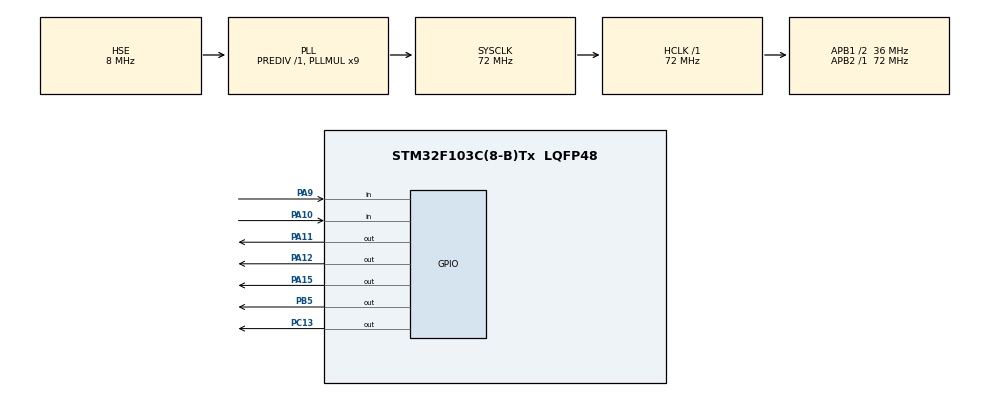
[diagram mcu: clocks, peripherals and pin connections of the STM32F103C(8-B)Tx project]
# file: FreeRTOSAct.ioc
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FREERTOS.Tasks01=ledTask,24,128,StartLedTask,Default,NULL,Dynamic,NULL,NULL;pwmTask,8,128,PWMTask,Default,NULL,Dynamic,NULL,NULL;inputTask,8,128,InputInverterTask,Default,NULL,Dynamic,NULL,NULL
Mcu.Family=STM32F1
Mcu.Name=STM32F103C(8-B)Tx
Mcu.Package=LQFP48
NVIC.PriorityGroup=NVIC_PRIORITYGROUP_4
NVIC.TIM2_IRQn=true\:15\:0\:false\:false\:true\:false\:false\:true\:true
NVIC.TimeBase=TIM2_IRQn
NVIC.TimeBaseIP=TIM2
PA10.Signal=GPIO_Input
PA11.Signal=GPIO_Output
PA12.Signal=GPIO_Output
PA13.Mode=Serial_Wire
PA13.Signal=SYS_JTMS-SWDIO
PA14.Mode=Serial_Wire
PA14.Signal=SYS_JTCK-SWCLK
PA15.Signal=GPIO_Output
PA9.Signal=GPIO_Input
PB5.Signal=GPIO_Output
PC13-TAMPER-RTC.Signal=GPIO_Output
PD0-OSC_IN.Mode=HSE-External-Oscillator
PD0-OSC_IN.Signal=RCC_OSC_IN
PD1-OSC_OUT.Mode=HSE-External-Oscillator
PD1-OSC_OUT.Signal=RCC_OSC_OUT
ProjectManager.HeapSize=0x200
ProjectManager.StackSize=0x400
ProjectManager.TargetToolchain=STM32CubeIDE
RCC.AHBFreq_Value=72000000
RCC.APB1CLKDivider=RCC_HCLK_DIV2
RCC.APB1Freq_Value=36000000
RCC.APB1TimFreq_Value=72000000
RCC.APB2Freq_Value=72000000
RCC.APB2TimFreq_Value=72000000
RCC.HCLKFreq_Value=72000000
RCC.PLLMUL=RCC_PLL_MUL9
RCC.PLLSourceVirtual=RCC_PLLSOURCE_HSE
RCC.SYSCLKFreq_VALUE=72000000
RCC.SYSCLKSource=RCC_SYSCLKSOURCE_PLLCLK
RCC.USBFreq_Value=72000000
VP_FREERTOS_VS_CMSIS_V2.Mode=CMSIS_V2
VP_SYS_VS_tim2.Mode=TIM2
board=custom

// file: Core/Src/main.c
/* USER CODE BEGIN Header */
/**
  ******************************************************************************
  * @file           : main.c
  * @brief          : Main program body
  ******************************************************************************
  * @attention
  *
  * Copyright (c) 2022 STMicroelectronics.
  * All rights reserved.
  *
  * This software is licensed under terms that can be found in the LICENSE file
  * in the root directory of this software component.
  * If no LICENSE file comes with this software, it is provided AS-IS.
  *
  ******************************************************************************
  */
/* USER CODE END Header */
#include "main.h"
#include "cmsis_os.h"

/* Definitions for ledTask */
osThreadId_t ledTaskHandle;
const osThreadAttr_t ledTask_attributes = {
  .name = "ledTask",
  .stack_size = 128 * 4,
  .priority = (osPriority_t) osPriorityNormal,
};
/* Definitions for pwmTask */
osThreadId_t pwmTaskHandle;
const osThreadAttr_t pwmTask_attributes = {
  .name = "pwmTask",
  .stack_size = 128 * 4,
  .priority = (osPriority_t) osPriorityLow,
};
/* Definitions for inputTask */
osThreadId_t inputTaskHandle;
const osThreadAttr_t inputTask_attributes = {
  .name = "inputTask",
  .stack_size = 128 * 4,
  .priority = (osPriority_t) osPriorityLow,
};

void SystemClock_Config(void);
static void MX_GPIO_Init(void);
void StartLedTask(void *argument);
void PWMTask(void *argument);
void InputInverterTask(void *argument);

int main(void)
{

  /* MCU Configuration--------------------------------------------------------*/

  /* Reset of all peripherals, Initializes the Flash interface and the Systick. */
  HAL_Init();

  /* Configure the system clock */
  SystemClock_Config();

  /* Initialize all configured peripherals */
  MX_GPIO_Init();

  /* Init scheduler */
  osKernelInitialize();

  /* Create the thread(s) */
  /* creation of ledTask */
  ledTaskHandle = osThreadNew(StartLedTask, NULL, &ledTask_attributes);

  /* creation of pwmTask */
  pwmTaskHandle = osThreadNew(PWMTask, NULL, &pwmTask_attributes);

  /* creation of inputTask */
  inputTaskHandle = osThreadNew(InputInverterTask, NULL, &inputTask_attributes);

  /* Start scheduler */
  osKernelStart();

  /* We should never get here as control is now taken by the scheduler */
  /* Infinite loop */
  while (1)
  {

  }
}

void SystemClock_Config(void)
{
  RCC_OscInitTypeDef RCC_OscInitStruct = {0};
  RCC_ClkInitTypeDef RCC_ClkInitStruct = {0};

  /** Initializes the RCC Oscillators according to the specified parameters
  * in the RCC_OscInitTypeDef structure.
  */
  RCC_OscInitStruct.OscillatorType = RCC_OSCILLATORTYPE_HSE;
  RCC_OscInitStruct.HSEState = RCC_HSE_ON;
  RCC_OscInitStruct.HSEPredivValue = RCC_HSE_PREDIV_DIV1;
  RCC_OscInitStruct.HSIState = RCC_HSI_ON;
  RCC_OscInitStruct.PLL.PLLState = RCC_PLL_ON;
  RCC_OscInitStruct.PLL.PLLSource = RCC_PLLSOURCE_HSE;
  RCC_OscInitStruct.PLL.PLLMUL = RCC_PLL_MUL9;
  if (HAL_RCC_OscConfig(&RCC_OscInitStruct) != HAL_OK)
  {
    Error_Handler();
  }

  /** Initializes the CPU, AHB and APB buses clocks
  */
  RCC_ClkInitStruct.ClockType = RCC_CLOCKTYPE_HCLK|RCC_CLOCKTYPE_SYSCLK
                              |RCC_CLOCKTYPE_PCLK1|RCC_CLOCKTYPE_PCLK2;
  RCC_ClkInitStruct.SYSCLKSource = RCC_SYSCLKSOURCE_PLLCLK;
  RCC_ClkInitStruct.AHBCLKDivider = RCC_SYSCLK_DIV1;
  RCC_ClkInitStruct.APB1CLKDivider = RCC_HCLK_DIV2;
  RCC_ClkInitStruct.APB2CLKDivider = RCC_HCLK_DIV1;

  if (HAL_RCC_ClockConfig(&RCC_ClkInitStruct, FLASH_LATENCY_2) != HAL_OK)
  {
    Error_Handler();
  }
}

static void MX_GPIO_Init(void)
{
  GPIO_InitTypeDef GPIO_InitStruct = {0};

  /* GPIO Ports Clock Enable */
  __HAL_RCC_GPIOC_CLK_ENABLE();
  __HAL_RCC_GPIOD_CLK_ENABLE();
  __HAL_RCC_GPIOA_CLK_ENABLE();
  __HAL_RCC_GPIOB_CLK_ENABLE();

  /*Configure GPIO pin Output Level */
  HAL_GPIO_WritePin(GPIOC, GPIO_PIN_13, GPIO_PIN_RESET);

  /*Configure GPIO pin Output Level */
  HAL_GPIO_WritePin(GPIOA, GPIO_PIN_11|GPIO_PIN_12|GPIO_PIN_15, GPIO_PIN_RESET);

  /*Configure GPIO pin Output Level */
  HAL_GPIO_WritePin(GPIOB, GPIO_PIN_5, GPIO_PIN_RESET);

  /*Configure GPIO pin : PC13 */
  GPIO_InitStruct.Pin = GPIO_PIN_13;
  GPIO_InitStruct.Mode = GPIO_MODE_OUTPUT_PP;
  GPIO_InitStruct.Pull = GPIO_NOPULL;
  GPIO_InitStruct.Speed = GPIO_SPEED_FREQ_LOW;
  HAL_GPIO_Init(GPIOC, &GPIO_InitStruct);

  /*Configure GPIO pins : PA9 PA10 */
  GPIO_InitStruct.Pin = GPIO_PIN_9|GPIO_PIN_10;
  GPIO_InitStruct.Mode = GPIO_MODE_INPUT;
  GPIO_InitStruct.Pull = GPIO_NOPULL;
  HAL_GPIO_Init(GPIOA, &GPIO_InitStruct);

  /*Configure GPIO pins : PA11 PA12 PA15 */
  GPIO_InitStruct.Pin = GPIO_PIN_11|GPIO_PIN_12|GPIO_PIN_15;
  GPIO_InitStruct.Mode = GPIO_MODE_OUTPUT_PP;
  GPIO_InitStruct.Pull = GPIO_NOPULL;
  GPIO_InitStruct.Speed = GPIO_SPEED_FREQ_LOW;
  HAL_GPIO_Init(GPIOA, &GPIO_InitStruct);

  /*Configure GPIO pin : PB5 */
  GPIO_InitStruct.Pin = GPIO_PIN_5;
  GPIO_InitStruct.Mode = GPIO_MODE_OUTPUT_PP;
  GPIO_InitStruct.Pull = GPIO_NOPULL;
  GPIO_InitStruct.Speed = GPIO_SPEED_FREQ_LOW;
  HAL_GPIO_Init(GPIOB, &GPIO_InitStruct);

}

void StartLedTask(void *argument)
{
  /* USER CODE BEGIN 5 */
  /* Infinite loop */
  for(;;)
  {
    osDelay(1);
    HAL_GPIO_TogglePin(GPIOC, GPIO_PIN_13);

    // Repetition rate of 500 ms
    osDelay(500);
  }
  /* USER CODE END 5 */
}

void PWMTask(void *argument)
{
  /* USER CODE BEGIN PWMTask */
  /* Infinite loop */
  for(;;)
  {
	// Read each input bit
	int firstPin = HAL_GPIO_ReadPin(GPIOA, GPIO_PIN_10);
	int secondPin = HAL_GPIO_ReadPin(GPIOA, GPIO_PIN_11);
	int thirdPin = HAL_GPIO_ReadPin(GPIOA, GPIO_PIN_12);
	int fourthPin = HAL_GPIO_ReadPin(GPIOA, GPIO_PIN_15);

	// Write to char variable
    char res = 0x0;
    res = res | firstPin;
    res = res | (secondPin << 1);
    res = res | (thirdPin << 2);
    res = res | (fourthPin << 3);

    // Max value, 0x111 -> 15, corresponds to 1, or 100%
    float dutyCycle = res / (float) 15;
    int repetitionRate = 1000;

    // Turn on for a portion of the time
    HAL_GPIO_WritePin(GPIOB, GPIO_PIN_5, GPIO_PIN_SET);
    osDelay((int) repetitionRate*dutyCycle);

    // Off for the rest
    HAL_GPIO_WritePin(GPIOB, GPIO_PIN_5, GPIO_PIN_RESET);
    osDelay((int) repetitionRate*(1 - dutyCycle));
  }
  /* USER CODE END PWMTask */
}

void InputInverterTask(void *argument)
{
  /* USER CODE BEGIN InputInverterTask */
  /* Infinite loop */
  for(;;)
  {
    int buttonPressed = HAL_GPIO_ReadPin(GPIOA, GPIO_PIN_9);
    //
    // if(buttonPressed){
    //     HAL_GPIO_WritePin(GPIOB, GPIO_PIN_5, GPIO_PIN_RESET);
    // } else {
    //     HAL_GPIO_WritePin(GPIOB, GPIO_PIN_5, GPIO_PIN_SET);
    // }

    // Repetition rate of 100 ms
    osDelay(100);
  }
  /* USER CODE END InputInverterTask */
}

void HAL_TIM_PeriodElapsedCallback(TIM_HandleTypeDef *htim)
{
  if (htim->Instance == TIM2) {
    HAL_IncTick();
  }
}

void Error_Handler(void)
{
  __disable_irq();
  while (1)
  {
  }
}
